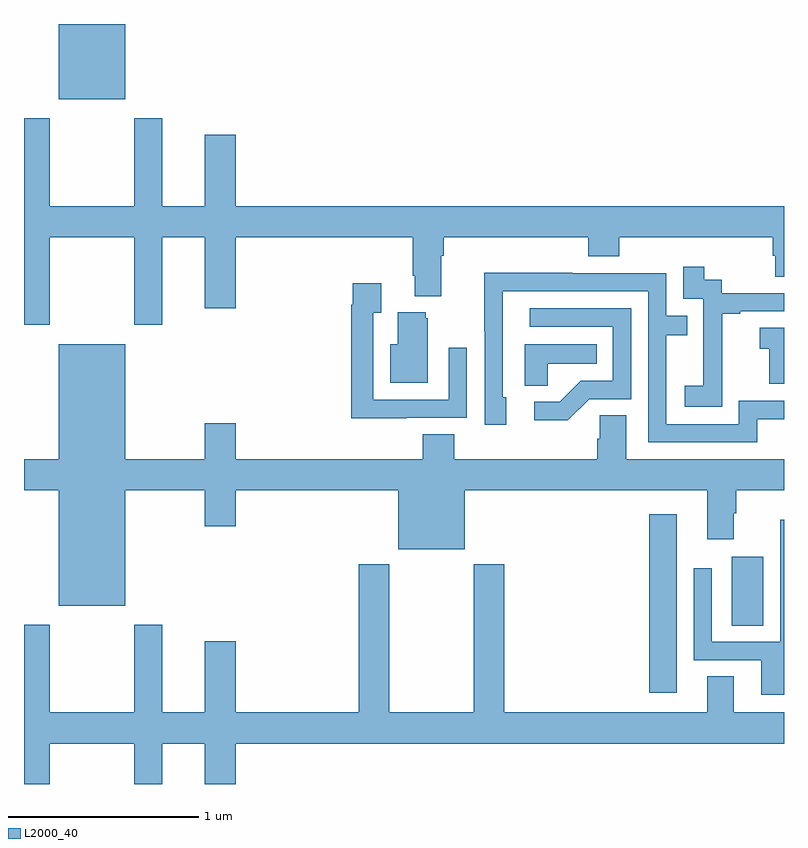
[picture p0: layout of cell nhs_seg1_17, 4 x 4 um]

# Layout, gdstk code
import gdstk
lib = gdstk.Library(unit=1e-6, precision=1e-09)
def R(c, l, rs):  # rectangles x0, y0, x1, y1
    for r in rs: c.add(gdstk.rectangle(r[:2], r[2:], *l))
def P(c, l, *ps):  # polygons
    for p in ps: c.add(gdstk.Polygon(p, *l))
L2000_40 = (2000, 40)

nhs_seg1_17 = lib.new_cell('nhs_seg1_17')
R(nhs_seg1_17, L2000_40, [(114.29,538.68,114.436,539.62), (114.725,539.032,114.892,539.395), (111.182,541.802,111.532,542.199)])
P(nhs_seg1_17, L2000_40, [(111.135,541.076),(111.58,541.076),(111.58,540.615),(111.727,540.615),(111.727,541.076),(111.95,541.076),(111.95,540.702),(112.114,540.702),(112.114,541.076),(113.045,541.076),(113.045,540.874),(113.057,540.874),(113.057,540.767),(113.197,540.767),(113.197,540.98),(113.21,540.98),(113.21,541.076),(113.969,541.076),(113.969,540.977),(114.134,540.977),(114.134,541.076),(114.941,541.076),(114.941,540.978),(114.953,540.978),(114.953,540.868),(115,540.868),(115,541.24),(112.114,541.24),(112.114,541.615),(111.95,541.615),(111.95,541.24),(111.727,541.24),(111.727,541.702),(111.58,541.702),(111.58,541.24),(111.135,541.24),(111.135,541.702),(111,541.702),(111,540.615),(111.135,540.615)],
  [(114.675,540.391),(114.674,540.391),(114.674,540.675),(114.769,540.675),(114.769,540.687),(115,540.687),(115,540.783),(114.672,540.783),(114.672,540.852),(114.58,540.852),(114.58,540.922),(114.471,540.922),(114.471,540.753),(114.576,540.753),(114.576,540.524),(114.575,540.524),(114.575,540.295),(114.477,540.295),(114.477,540.185),(114.675,540.185)],
  [(114.859,540.12),(115,540.12),(115,540.216),(114.762,540.216),(114.762,540.093),(114.381,540.093),(114.381,540.562),(114.491,540.562),(114.491,540.663),(114.381,540.663),(114.381,540.888),(113.885,540.888),(113.885,540.89),(113.422,540.89),(113.422,540.583),(113.424,540.583),(113.424,540.09),(113.539,540.09),(113.539,540.234),(113.52,540.234),(113.52,540.792),(114.285,540.792),(114.285,539.997),(114.859,539.997)],
  [(113.015,540.126),(113.331,540.126),(113.331,540.496),(113.235,540.496),(113.235,540.222),(112.839,540.222),(112.839,540.679),(112.879,540.679),(112.879,540.835),(112.731,540.835),(112.731,540.722),(112.723,540.722),(112.723,540.125),(113.015,540.125)],
  [(113.976,540.225),(114.195,540.225),(114.195,540.702),(113.661,540.702),(113.661,540.606),(114.099,540.606),(114.099,540.321),(113.93,540.321),(113.819,540.21),(113.685,540.21),(113.685,540.113),(113.863,540.113)],
  [(113.125,540.651),(113.114,540.651),(113.114,540.682),(112.967,540.682),(112.967,540.514),(112.928,540.514),(112.928,540.311),(113.125,540.311)],
  [(115,540.601),(114.873,540.601),(114.873,540.491),(114.922,540.491),(114.922,540.306),(115,540.306)],
  [(113.757,540.41),(114.014,540.41),(114.014,540.514),(113.636,540.514),(113.636,540.295),(113.757,540.295)],
  [(111.532,539.744),(111.95,539.744),(111.95,539.556),(112.114,539.556),(112.114,539.744),(112.97,539.744),(112.97,539.435),(113.32,539.435),(113.32,539.744),(114.596,539.744),(114.596,539.487),(114.736,539.487),(114.736,539.624),(114.749,539.624),(114.749,539.744),(115,539.744),(115,539.908),(114.169,539.908),(114.169,540.14),(114.03,540.14),(114.03,540.017),(114.017,540.017),(114.017,539.908),(113.264,539.908),(113.264,540.041),(113.099,540.041),(113.099,539.908),(112.114,539.908),(112.114,540.097),(111.95,540.097),(111.95,539.908),(111.532,539.908),(111.532,540.514),(111.182,540.514),(111.182,539.908),(111,539.908),(111,539.744),(111.182,539.744),(111.182,539.138),(111.532,539.138)],
  [(115,539.59),(114.981,539.59),(114.981,538.947),(114.621,538.947),(114.621,539.335),(114.525,539.335),(114.525,538.851),(114.881,538.851),(114.881,538.67),(115,538.67)],
  [(111.135,538.412),(111.58,538.412),(111.58,538.199),(111.727,538.199),(111.727,538.412),(111.95,538.412),(111.95,538.199),(112.114,538.199),(112.114,538.412),(115,538.412),(115,538.576),(114.736,538.576),(114.736,538.766),(114.596,538.766),(114.596,538.576),(113.528,538.576),(113.528,539.356),(113.368,539.356),(113.368,538.576),(112.923,538.576),(112.923,539.356),(112.763,539.356),(112.763,538.576),(112.114,538.576),(112.114,538.951),(111.95,538.951),(111.95,538.576),(111.727,538.576),(111.727,539.038),(111.58,539.038),(111.58,538.576),(111.135,538.576),(111.135,539.038),(111,539.038),(111,538.199),(111.135,538.199)])

lib.write_gds('nhs_seg1_17.gds')
